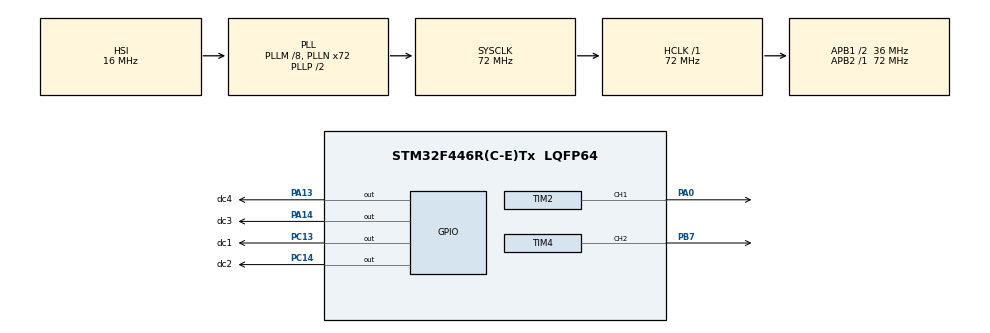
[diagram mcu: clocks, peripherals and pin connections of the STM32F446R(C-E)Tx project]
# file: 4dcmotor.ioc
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Dma.Request0=TIM2_CH1
Dma.Request1=TIM4_CH2
Dma.TIM2_CH1.0.Direction=DMA_PERIPH_TO_MEMORY
Dma.TIM2_CH1.0.FIFOMode=DMA_FIFOMODE_DISABLE
Dma.TIM2_CH1.0.Instance=DMA1_Stream5
Dma.TIM2_CH1.0.MemDataAlignment=DMA_MDATAALIGN_WORD
Dma.TIM2_CH1.0.MemInc=DMA_MINC_ENABLE
Dma.TIM2_CH1.0.Mode=DMA_NORMAL
Dma.TIM2_CH1.0.PeriphDataAlignment=DMA_PDATAALIGN_WORD
Dma.TIM2_CH1.0.PeriphInc=DMA_PINC_DISABLE
Dma.TIM2_CH1.0.Priority=DMA_PRIORITY_LOW
Dma.TIM4_CH2.1.Direction=DMA_PERIPH_TO_MEMORY
Dma.TIM4_CH2.1.FIFOMode=DMA_FIFOMODE_DISABLE
Dma.TIM4_CH2.1.Instance=DMA1_Stream3
Dma.TIM4_CH2.1.MemDataAlignment=DMA_MDATAALIGN_HALFWORD
Dma.TIM4_CH2.1.MemInc=DMA_MINC_ENABLE
Dma.TIM4_CH2.1.Mode=DMA_NORMAL
Dma.TIM4_CH2.1.PeriphDataAlignment=DMA_PDATAALIGN_HALFWORD
Dma.TIM4_CH2.1.PeriphInc=DMA_PINC_DISABLE
Dma.TIM4_CH2.1.Priority=DMA_PRIORITY_LOW
Mcu.Family=STM32F4
Mcu.Name=STM32F446R(C-E)Tx
Mcu.Package=LQFP64
NVIC.DMA1_Stream3_IRQn=true\:0\:0\:false\:false\:true\:false\:true\:true
NVIC.DMA1_Stream5_IRQn=true\:0\:0\:false\:false\:true\:false\:true\:true
NVIC.PriorityGroup=NVIC_PRIORITYGROUP_4
PA0-WKUP.Signal=S_TIM2_CH1_ETR
PA13.GPIO_Label=dc4
PA13.Signal=GPIO_Output
PA14.GPIO_Label=dc3
PA14.Signal=GPIO_Output
PB7.Signal=S_TIM4_CH2
PC13.GPIO_Label=dc1
PC13.Signal=GPIO_Output
PC14-OSC32_IN.GPIO_Label=dc2
PC14-OSC32_IN.Signal=GPIO_Output
PH0-OSC_IN.Mode=HSE-External-Oscillator
PH0-OSC_IN.Signal=RCC_OSC_IN
PH1-OSC_OUT.Mode=HSE-External-Oscillator
PH1-OSC_OUT.Signal=RCC_OSC_OUT
ProjectManager.HeapSize=0x200
ProjectManager.StackSize=0x400
ProjectManager.TargetToolchain=STM32CubeIDE
RCC.AHBFreq_Value=72000000
RCC.APB1CLKDivider=RCC_HCLK_DIV2
RCC.APB1Freq_Value=36000000
RCC.APB1TimFreq_Value=72000000
RCC.APB2Freq_Value=72000000
RCC.APB2TimFreq_Value=72000000
RCC.CortexFreq_Value=72000000
RCC.HCLKFreq_Value=72000000
RCC.PLLM=8
RCC.PLLN=72
RCC.SYSCLKFreq_VALUE=72000000
RCC.SYSCLKSource=RCC_SYSCLKSOURCE_PLLCLK
RCC.USBFreq_Value=72000000
RCC.VCOOutputFreq_Value=144000000
SH.S_TIM2_CH1_ETR.0=TIM2_CH1,PWM Generation1 CH1
SH.S_TIM4_CH2.0=TIM4_CH2,PWM Generation2 CH2
TIM2.Channel-PWM\ Generation1\ CH1=TIM_CHANNEL_1
TIM2.Period=100-1
TIM2.Prescaler=72-1
TIM4.Channel-PWM\ Generation2\ CH2=TIM_CHANNEL_2
TIM4.Period=100-1
TIM4.Prescaler=72-1
VP_TIM2_VS_ClockSourceINT.Mode=Internal
VP_TIM4_VS_ClockSourceINT.Mode=Internal
board=custom

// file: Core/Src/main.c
/* USER CODE BEGIN Header */
/**
  ******************************************************************************
  * @file           : main.c
  * @brief          : Main program body
  ******************************************************************************
  * @attention
  *
  * Copyright (c) 2022 STMicroelectronics.
  * All rights reserved.
  *
  * This software is licensed under terms that can be found in the LICENSE file
  * in the root directory of this software component.
  * If no LICENSE file comes with this software, it is provided AS-IS.
  *
  ******************************************************************************
  */
/* USER CODE END Header */
#include "main.h"

 TIM_HandleTypeDef htim2;
TIM_HandleTypeDef htim4;
DMA_HandleTypeDef hdma_tim2_ch1;
DMA_HandleTypeDef hdma_tim4_ch2;

void SystemClock_Config(void);
static void MX_GPIO_Init(void);
static void MX_DMA_Init(void);
static void MX_TIM2_Init(void);
static void MX_TIM4_Init(void);

/* USER CODE BEGIN 0 */
int pwm_val;
int pwm_val2;
/* USER CODE END 0 */

int main(void)
{

  /* MCU Configuration--------------------------------------------------------*/

  /* Reset of all peripherals, Initializes the Flash interface and the Systick. */
  HAL_Init();

  /* Configure the system clock */
  SystemClock_Config();

  /* Initialize all configured peripherals */
  MX_GPIO_Init();
  MX_DMA_Init();
  MX_TIM2_Init();
  MX_TIM4_Init();
  /* USER CODE BEGIN 2 */
  HAL_TIM_PWM_Start(&htim2, TIM_CHANNEL_1);
  HAL_TIM_PWM_Start(&htim4, TIM_CHANNEL_2);
  HAL_GPIO_WritePin(GPIOC, dc1_Pin, 0);
  HAL_GPIO_WritePin(GPIOC, dc2_Pin, 0);
  HAL_GPIO_WritePin(GPIOA, dc3_Pin, 0);
  HAL_GPIO_WritePin(GPIOA, dc4_Pin, 0);
  /* USER CODE END 2 */

  /* Infinite loop */
  /* USER CODE BEGIN WHILE */
  while (1)
  {
	  htim2.Instance-> CCR1 = pwm_val;
	  pwm_val=50;
	  htim4.Instance-> CCR2 = pwm_val2;
	  pwm_val2=50;
	  HAL_GPIO_WritePin(GPIOC, dc1_Pin, 1);
	  HAL_GPIO_WritePin(GPIOC, dc2_Pin, 0);
	  HAL_GPIO_WritePin(GPIOA, dc3_Pin, 0);
	  HAL_GPIO_WritePin(GPIOA, dc4_Pin, 1);
	  HAL_Delay(300);
    /* USER CODE END WHILE */

  }
}

void SystemClock_Config(void)
{
  RCC_OscInitTypeDef RCC_OscInitStruct = {0};
  RCC_ClkInitTypeDef RCC_ClkInitStruct = {0};

  /** Configure the main internal regulator output voltage
  */
  __HAL_RCC_PWR_CLK_ENABLE();
  __HAL_PWR_VOLTAGESCALING_CONFIG(PWR_REGULATOR_VOLTAGE_SCALE3);

  /** Initializes the RCC Oscillators according to the specified parameters
  * in the RCC_OscInitTypeDef structure.
  */
  RCC_OscInitStruct.OscillatorType = RCC_OSCILLATORTYPE_HSI;
  RCC_OscInitStruct.HSIState = RCC_HSI_ON;
  RCC_OscInitStruct.HSICalibrationValue = RCC_HSICALIBRATION_DEFAULT;
  RCC_OscInitStruct.PLL.PLLState = RCC_PLL_ON;
  RCC_OscInitStruct.PLL.PLLSource = RCC_PLLSOURCE_HSI;
  RCC_OscInitStruct.PLL.PLLM = 8;
  RCC_OscInitStruct.PLL.PLLN = 72;
  RCC_OscInitStruct.PLL.PLLP = RCC_PLLP_DIV2;
  RCC_OscInitStruct.PLL.PLLQ = 2;
  RCC_OscInitStruct.PLL.PLLR = 2;
  if (HAL_RCC_OscConfig(&RCC_OscInitStruct) != HAL_OK)
  {
    Error_Handler();
  }

  /** Initializes the CPU, AHB and APB buses clocks
  */
  RCC_ClkInitStruct.ClockType = RCC_CLOCKTYPE_HCLK|RCC_CLOCKTYPE_SYSCLK
                              |RCC_CLOCKTYPE_PCLK1|RCC_CLOCKTYPE_PCLK2;
  RCC_ClkInitStruct.SYSCLKSource = RCC_SYSCLKSOURCE_PLLCLK;
  RCC_ClkInitStruct.AHBCLKDivider = RCC_SYSCLK_DIV1;
  RCC_ClkInitStruct.APB1CLKDivider = RCC_HCLK_DIV2;
  RCC_ClkInitStruct.APB2CLKDivider = RCC_HCLK_DIV1;

  if (HAL_RCC_ClockConfig(&RCC_ClkInitStruct, FLASH_LATENCY_2) != HAL_OK)
  {
    Error_Handler();
  }
}

static void MX_TIM2_Init(void)
{

  TIM_ClockConfigTypeDef sClockSourceConfig = {0};
  TIM_MasterConfigTypeDef sMasterConfig = {0};
  TIM_OC_InitTypeDef sConfigOC = {0};

  htim2.Instance = TIM2;
  htim2.Init.Prescaler = 72-1;
  htim2.Init.CounterMode = TIM_COUNTERMODE_UP;
  htim2.Init.Period = 100-1;
  htim2.Init.ClockDivision = TIM_CLOCKDIVISION_DIV1;
  htim2.Init.AutoReloadPreload = TIM_AUTORELOAD_PRELOAD_DISABLE;
  if (HAL_TIM_Base_Init(&htim2) != HAL_OK)
  {
    Error_Handler();
  }
  sClockSourceConfig.ClockSource = TIM_CLOCKSOURCE_INTERNAL;
  if (HAL_TIM_ConfigClockSource(&htim2, &sClockSourceConfig) != HAL_OK)
  {
    Error_Handler();
  }
  if (HAL_TIM_PWM_Init(&htim2) != HAL_OK)
  {
    Error_Handler();
  }
  sMasterConfig.MasterOutputTrigger = TIM_TRGO_RESET;
  sMasterConfig.MasterSlaveMode = TIM_MASTERSLAVEMODE_DISABLE;
  if (HAL_TIMEx_MasterConfigSynchronization(&htim2, &sMasterConfig) != HAL_OK)
  {
    Error_Handler();
  }
  sConfigOC.OCMode = TIM_OCMODE_PWM1;
  sConfigOC.Pulse = 0;
  sConfigOC.OCPolarity = TIM_OCPOLARITY_HIGH;
  sConfigOC.OCFastMode = TIM_OCFAST_DISABLE;
  if (HAL_TIM_PWM_ConfigChannel(&htim2, &sConfigOC, TIM_CHANNEL_1) != HAL_OK)
  {
    Error_Handler();
  }
  HAL_TIM_MspPostInit(&htim2);

}

static void MX_TIM4_Init(void)
{

  TIM_ClockConfigTypeDef sClockSourceConfig = {0};
  TIM_MasterConfigTypeDef sMasterConfig = {0};
  TIM_OC_InitTypeDef sConfigOC = {0};

  htim4.Instance = TIM4;
  htim4.Init.Prescaler = 72-1;
  htim4.Init.CounterMode = TIM_COUNTERMODE_UP;
  htim4.Init.Period = 100-1;
  htim4.Init.ClockDivision = TIM_CLOCKDIVISION_DIV1;
  htim4.Init.AutoReloadPreload = TIM_AUTORELOAD_PRELOAD_DISABLE;
  if (HAL_TIM_Base_Init(&htim4) != HAL_OK)
  {
    Error_Handler();
  }
  sClockSourceConfig.ClockSource = TIM_CLOCKSOURCE_INTERNAL;
  if (HAL_TIM_ConfigClockSource(&htim4, &sClockSourceConfig) != HAL_OK)
  {
    Error_Handler();
  }
  if (HAL_TIM_PWM_Init(&htim4) != HAL_OK)
  {
    Error_Handler();
  }
  sMasterConfig.MasterOutputTrigger = TIM_TRGO_RESET;
  sMasterConfig.MasterSlaveMode = TIM_MASTERSLAVEMODE_DISABLE;
  if (HAL_TIMEx_MasterConfigSynchronization(&htim4, &sMasterConfig) != HAL_OK)
  {
    Error_Handler();
  }
  sConfigOC.OCMode = TIM_OCMODE_PWM1;
  sConfigOC.Pulse = 0;
  sConfigOC.OCPolarity = TIM_OCPOLARITY_HIGH;
  sConfigOC.OCFastMode = TIM_OCFAST_DISABLE;
  if (HAL_TIM_PWM_ConfigChannel(&htim4, &sConfigOC, TIM_CHANNEL_2) != HAL_OK)
  {
    Error_Handler();
  }
  HAL_TIM_MspPostInit(&htim4);

}

static void MX_DMA_Init(void)
{

  /* DMA controller clock enable */
  __HAL_RCC_DMA1_CLK_ENABLE();

  /* DMA interrupt init */
  /* DMA1_Stream3_IRQn interrupt configuration */
  HAL_NVIC_SetPriority(DMA1_Stream3_IRQn, 0, 0);
  HAL_NVIC_EnableIRQ(DMA1_Stream3_IRQn);
  /* DMA1_Stream5_IRQn interrupt configuration */
  HAL_NVIC_SetPriority(DMA1_Stream5_IRQn, 0, 0);
  HAL_NVIC_EnableIRQ(DMA1_Stream5_IRQn);

}

static void MX_GPIO_Init(void)
{
  GPIO_InitTypeDef GPIO_InitStruct = {0};

  /* GPIO Ports Clock Enable */
  __HAL_RCC_GPIOC_CLK_ENABLE();
  __HAL_RCC_GPIOH_CLK_ENABLE();
  __HAL_RCC_GPIOA_CLK_ENABLE();
  __HAL_RCC_GPIOB_CLK_ENABLE();

  /*Configure GPIO pin Output Level */
  HAL_GPIO_WritePin(GPIOC, dc1_Pin|dc2_Pin, GPIO_PIN_RESET);

  /*Configure GPIO pin Output Level */
  HAL_GPIO_WritePin(GPIOA, dc4_Pin|dc3_Pin, GPIO_PIN_RESET);

  /*Configure GPIO pins : dc1_Pin dc2_Pin */
  GPIO_InitStruct.Pin = dc1_Pin|dc2_Pin;
  GPIO_InitStruct.Mode = GPIO_MODE_OUTPUT_PP;
  GPIO_InitStruct.Pull = GPIO_NOPULL;
  GPIO_InitStruct.Speed = GPIO_SPEED_FREQ_LOW;
  HAL_GPIO_Init(GPIOC, &GPIO_InitStruct);

  /*Configure GPIO pins : dc4_Pin dc3_Pin */
  GPIO_InitStruct.Pin = dc4_Pin|dc3_Pin;
  GPIO_InitStruct.Mode = GPIO_MODE_OUTPUT_PP;
  GPIO_InitStruct.Pull = GPIO_NOPULL;
  GPIO_InitStruct.Speed = GPIO_SPEED_FREQ_LOW;
  HAL_GPIO_Init(GPIOA, &GPIO_InitStruct);

}

void Error_Handler(void)
{
  __disable_irq();
  while (1)
  {
  }
}
